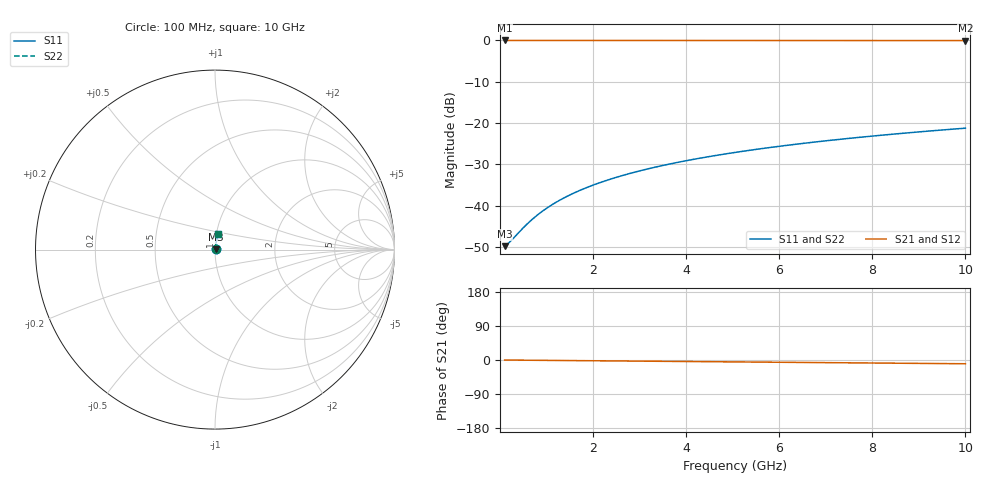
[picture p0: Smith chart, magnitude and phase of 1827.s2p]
# Hz S RI R 50.00
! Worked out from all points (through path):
!   100 points, 100 MHz to 10 GHz, reference 50 ohm
!   highest |S21| = -0.03 dB at 100 MHz (marker M1); lowest = -0.1 dB at 10 GHz (marker M2)
!   group delay of S21, straight-line fit = 2.76 ps
!   lowest |S11| = -49.8 dB at 100 MHz (marker M3), VSWR 1.01, Z = 50.3 + j0.0871 ohm
!   |S11| at or under -10 dB: start of sweep to end of sweep
!   |S22| runs from -49.8 to -21.3 dB; largest |S21 - S12| = 0
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1e8  0.00312 0.000866  0.9969 -0.00173  0.9969 -0.00173  0.00312 0.000866
2e8  0.00314 0.00173  0.9969 -0.00346  0.9969 -0.00346  0.00314 0.00173
5e8  0.00321 0.00433  0.9968 -0.00864  0.9968 -0.00864  0.00321 0.00433
6e8  0.00323 0.00519  0.9967 -0.0104  0.9967 -0.0104  0.00323 0.00519
7e8  0.00326 0.00606  0.9967 -0.0121  0.9967 -0.0121  0.00326 0.00606
9e8  0.00332 0.00779  0.9966 -0.0155  0.9966 -0.0155  0.00332 0.00779
1.1e9  0.0034 0.00952  0.9965 -0.019  0.9965 -0.019  0.0034 0.00952
1.3e9  0.00348 0.0112  0.9964 -0.0225  0.9964 -0.0225  0.00348 0.0112
1.5e9  0.00357 0.013  0.9963 -0.0259  0.9963 -0.0259  0.00357 0.013
1.8e9  0.00374 0.0156  0.9961 -0.0311  0.9961 -0.0311  0.00374 0.0156
2.1e9  0.00392 0.0182  0.9959 -0.0363  0.9959 -0.0363  0.00392 0.0182
2.5e9  0.00421 0.0216  0.9955 -0.0432  0.9955 -0.0432  0.00421 0.0216
2.9e9  0.00455 0.025  0.9951 -0.0501  0.9951 -0.0501  0.00455 0.025
3.4e9  0.00504 0.0293  0.9945 -0.0587  0.9945 -0.0587  0.00504 0.0293
3.8e9  0.00548 0.0328  0.9939 -0.0655  0.9939 -0.0655  0.00548 0.0328
4.2e9  0.00597 0.0362  0.9933 -0.0724  0.9933 -0.0724  0.00597 0.0362
5.1e9  0.00725 0.0439  0.9917 -0.0879  0.9917 -0.0879  0.00725 0.0439
5.9e9  0.00858 0.0506  0.9901 -0.1016  0.9901 -0.1016  0.00858 0.0506
6.7e9  0.0101 0.0574  0.9882 -0.1152  0.9882 -0.1152  0.0101 0.0574
7.5e9  0.0118 0.0641  0.986 -0.1288  0.986 -0.1288  0.0118 0.0641
8.4e9  0.0139 0.0715  0.9834 -0.1441  0.9834 -0.1441  0.0139 0.0715
1e10  0.0183 0.0846  0.9779 -0.171  0.9779 -0.171  0.0183 0.0846
